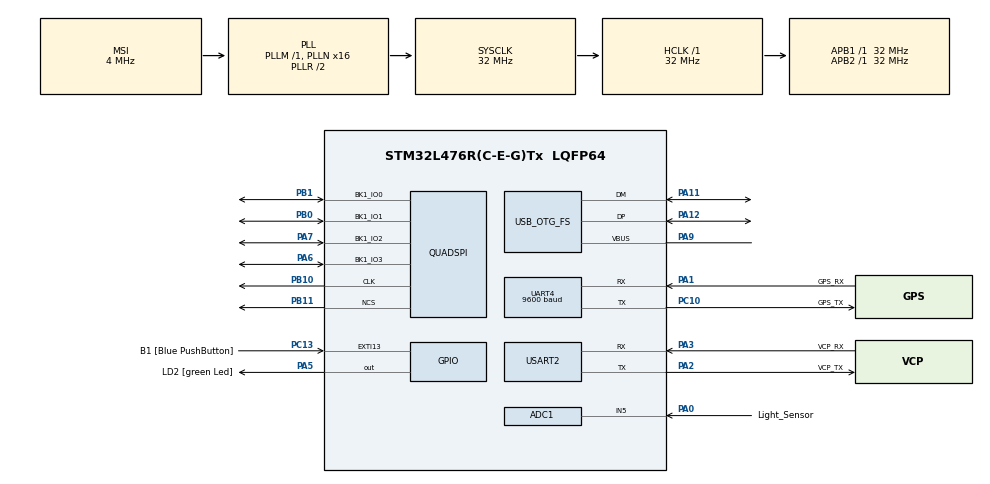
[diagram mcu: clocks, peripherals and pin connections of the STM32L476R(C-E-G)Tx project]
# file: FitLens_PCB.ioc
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ADC1.Channel-0\#ChannelRegularConversion=ADC_CHANNEL_5
ADC1.ContinuousConvMode=DISABLE
ADC1.NbrOfConversion=1
ADC1.NbrOfConversionFlag=1
ADC1.OffsetNumber-0\#ChannelRegularConversion=ADC_OFFSET_NONE
ADC1.Rank-0\#ChannelRegularConversion=1
ADC1.SamplingTime-0\#ChannelRegularConversion=ADC_SAMPLETIME_2CYCLES_5
ADC1.master=1
Dma.Request0=UART4_RX
Dma.UART4_RX.0.Direction=DMA_PERIPH_TO_MEMORY
Dma.UART4_RX.0.Instance=DMA2_Channel5
Dma.UART4_RX.0.MemDataAlignment=DMA_MDATAALIGN_BYTE
Dma.UART4_RX.0.MemInc=DMA_MINC_ENABLE
Dma.UART4_RX.0.Mode=DMA_NORMAL
Dma.UART4_RX.0.PeriphDataAlignment=DMA_PDATAALIGN_BYTE
Dma.UART4_RX.0.PeriphInc=DMA_PINC_DISABLE
Dma.UART4_RX.0.Priority=DMA_PRIORITY_LOW
Mcu.Family=STM32L4
Mcu.Name=STM32L476R(C-E-G)Tx
Mcu.Package=LQFP64
NVIC.DMA2_Channel5_IRQn=true\:0\:0\:false\:false\:true\:false\:true\:true
NVIC.OTG_FS_IRQn=true\:0\:0\:false\:false\:true\:false\:true\:true
NVIC.PriorityGroup=NVIC_PRIORITYGROUP_4
NVIC.UART4_IRQn=true\:0\:0\:false\:false\:true\:true\:true\:true
NVIC.USART2_IRQn=true\:0\:0\:false\:false\:true\:true\:true\:true
PA0.GPIO_Label=Light_Sensor
PA0.Signal=ADCx_IN5
PA1.GPIO_Label=GPS_RX
PA1.Mode=Asynchronous
PA1.Signal=UART4_RX
PA11.Mode=Device_Only
PA11.Signal=USB_OTG_FS_DM
PA12.Mode=Device_Only
PA12.Signal=USB_OTG_FS_DP
PA13\ (JTMS-SWDIO).GPIO_Label=TMS
PA13\ (JTMS-SWDIO).Mode=Serial_Wire
PA13\ (JTMS-SWDIO).Signal=SYS_JTMS-SWDIO
PA14\ (JTCK-SWCLK).GPIO_Label=TCK
PA14\ (JTCK-SWCLK).Mode=Serial_Wire
PA14\ (JTCK-SWCLK).Signal=SYS_JTCK-SWCLK
PA2.GPIO_Label=VCP_TX
PA2.GPIO_Mode=GPIO_MODE_AF_PP
PA2.GPIO_PuPd=GPIO_NOPULL
PA2.GPIO_Speed=GPIO_SPEED_FREQ_VERY_HIGH
PA2.Mode=Asynchronous
PA2.Signal=USART2_TX
PA3.GPIO_Label=VCP_RX
PA3.GPIO_Mode=GPIO_MODE_AF_PP
PA3.GPIO_PuPd=GPIO_NOPULL
PA3.GPIO_Speed=GPIO_SPEED_FREQ_VERY_HIGH
PA3.Mode=Asynchronous
PA3.Signal=USART2_RX
PA5.GPIO_Label=LD2 [green Led]
PA5.GPIO_ModeDefaultOutputPP=GPIO_MODE_OUTPUT_PP
PA5.GPIO_PuPd=GPIO_NOPULL
PA5.GPIO_Speed=GPIO_SPEED_FREQ_LOW
PA5.Signal=GPIO_Output
PA6.Mode=Single Bank
PA6.Signal=QUADSPI_BK1_IO3
PA7.Mode=Single Bank
PA7.Signal=QUADSPI_BK1_IO2
PA9.Mode=Activate_VBUS
PA9.Signal=USB_OTG_FS_VBUS
PB0.Mode=Single Bank
PB0.Signal=QUADSPI_BK1_IO1
PB1.Mode=Single Bank
PB1.Signal=QUADSPI_BK1_IO0
PB10.Mode=Single Bank
PB10.Signal=QUADSPI_CLK
PB11.Mode=Single Bank
PB11.Signal=QUADSPI_NCS
PB3\ (JTDO-TRACESWO).GPIO_Label=SWO
PB3\ (JTDO-TRACESWO).Signal=SYS_JTDO-SWO
PC10.GPIO_Label=GPS_TX
PC10.Mode=Asynchronous
PC10.Signal=UART4_TX
PC13.GPIO_Label=B1 [Blue PushButton]
PC13.GPIO_ModeDefaultEXTI=GPIO_MODE_IT_FALLING
PC13.GPIO_PuPd=GPIO_NOPULL
PC13.Signal=GPXTI13
PC14-OSC32_IN\ (PC14).Mode=LSE-External-Oscillator
PC14-OSC32_IN\ (PC14).Signal=RCC_OSC32_IN
PC15-OSC32_OUT\ (PC15).Mode=LSE-External-Oscillator
PC15-OSC32_OUT\ (PC15).Signal=RCC_OSC32_OUT
PH0-OSC_IN\ (PH0).Signal=RCC_OSC_IN
PH1-OSC_OUT\ (PH1).Signal=RCC_OSC_OUT
ProjectManager.HeapSize=0x200
ProjectManager.StackSize=0x400
ProjectManager.TargetToolchain=STM32CubeIDE
QUADSPI.FlashSize-Single\ Bank=22
RCC.ADCFreq_Value=48000000
RCC.AHBFreq_Value=32000000
RCC.APB1Freq_Value=32000000
RCC.APB1TimFreq_Value=32000000
RCC.APB2Freq_Value=32000000
RCC.APB2TimFreq_Value=32000000
RCC.CortexFreq_Value=32000000
RCC.HCLKFreq_Value=32000000
RCC.HSE_VALUE=8000000
RCC.HSI_VALUE=16000000
RCC.MSI_VALUE=4000000
RCC.PLLN=16
RCC.PLLSAI1N=24
RCC.PREFETCH_ENABLE=1
RCC.SYSCLKFreq_VALUE=32000000
RCC.SYSCLKSource=RCC_SYSCLKSOURCE_PLLCLK
RCC.USBFreq_Value=48000000
RCC.VCOOutputFreq_Value=64000000
SH.ADCx_IN5.0=ADC1_IN5,IN5-Single-Ended
UART4.BaudRate=9600
USART2.VirtualMode-Asynchronous=VM_ASYNC
USB_DEVICE.CLASS_NAME_FS=CDC
USB_DEVICE.VirtualMode=Cdc
USB_DEVICE.VirtualModeFS=Cdc_FS
USB_OTG_FS.VirtualMode=Device_Only
VP_CRC_VS_CRC.Mode=CRC_Activate
VP_USB_DEVICE_VS_USB_DEVICE_CDC_FS.Mode=CDC_FS
board=NUCLEO-L476RG

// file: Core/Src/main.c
/* USER CODE BEGIN Header */
/**
  ******************************************************************************
  * @file           : main.c
  * @brief          : Main program body
  ******************************************************************************
  * @attention
  *
  * Copyright (c) 2026 STMicroelectronics.
  * All rights reserved.
  *
  * This software is licensed under terms that can be found in the LICENSE file
  * in the root directory of this software component.
  * If no LICENSE file comes with this software, it is provided AS-IS.
  *
  ******************************************************************************
  */
/* USER CODE END Header */
#include "main.h"
#include "usb_device.h"
#include "usbd_cdc_if.h"
/* USER CODE BEGIN Includes */
//#include "ssd1306_fonts.h"
#include <string.h>
#include <stdio.h>
//#include "ssd1306.h"
#include <stdlib.h>
#include "gps.h"
#include "mx25_flash.h"
/* USER CODE END Includes */

ADC_HandleTypeDef hadc1;

CRC_HandleTypeDef hcrc;

QSPI_HandleTypeDef hqspi;

UART_HandleTypeDef huart4;
UART_HandleTypeDef huart2;
DMA_HandleTypeDef hdma_uart4_rx;

/* USER CODE BEGIN PV */
uint32_t flash_id = 0;
uint8_t terminal_rx_byte; // buffer for 1 byte to terminal
extern CRC_HandleTypeDef hcrc;
extern uint8_t export_gpx_flag;
uint32_t last_gps_ptr = 0;
uint16_t adc_values[2];
uint16_t adcLight = 0;
uint16_t adcTouch = 0;
uint8_t gps_logging_enabled = 0;
uint32_t last_log_tick = 0;
#define GPS_LOG_INTERVAL_MS 1000
extern uint32_t total_time;
extern uint32_t time_since_update;
extern float distance_traveled;
extern uint32_t last_update;
uint32_t current_flash_address = 0x000000;
//void get_dist_and_time(float lat, float lon);
extern float distance_m(float lat1, float lon1,
        float lat2, float lon2);

// nav vars
char nav_rx; // nav byte
char nav_buffer[128];
int nav_idx = 0;
char nav_c;
int done;
int instr_idx = 0;
float dist_to_wp;

#define MAX_WAYPOINTS 200
#define MAX_STREET_LEN 32
#define MAX_DIR_LEN 16
#define MAX_DIST_LEN 16

float lat[MAX_WAYPOINTS];
float lon[MAX_WAYPOINTS];
char direction[MAX_WAYPOINTS][MAX_DIR_LEN];
char street[MAX_WAYPOINTS][MAX_STREET_LEN];
char distance_to_turn[MAX_WAYPOINTS][MAX_DIST_LEN];

int waypoint_count = 0;
int arrived_flag = 0;
int first_run = 1;
//static int scroll_x = 128; // right edge

int final_time = 0;
float final_dist = 0.0;

extern UART_HandleTypeDef huart2;

uint8_t rx_byte;

// 8x8 bitmap for right arrow
uint8_t arrow_right[8] = {
    0b00010000,
    0b00011000,
    0b00001100,
    0b11111110,
    0b11111110,
    0b00001100,
    0b00011000,
    0b00010000
};

uint8_t arrow_left[8] = {
    0b00001000,
    0b00011000,
    0b00110000,
    0b01111111,
    0b01111111,
    0b00110000,
    0b00011000,
    0b00001000
};

// 8x8 bitmap for straight/up arrow
uint8_t arrow_up[8] = {
    0b00011000,
    0b00111100,
    0b01111110,
    0b00011000,
    0b00011000,
    0b00011000,
    0b00011000,
    0b00000000
};
/* USER CODE END PV */

void SystemClock_Config(void);
void PeriphCommonClock_Config(void);
static void MX_GPIO_Init(void);
static void MX_DMA_Init(void);
static void MX_USART2_UART_Init(void);
static void MX_UART4_Init(void);
static void MX_ADC1_Init(void);
static void MX_QUADSPI_Init(void);
static void MX_CRC_Init(void);
/* USER CODE BEGIN PFP */
void Execute_GPX_Export(void);
/* USER CODE END PFP */

/* USER CODE BEGIN 0 */

/*void Display_Write(uint8_t cmd) {
    HAL_GPIO_WritePin(DISP_DC_PORT, DISP_DC, GPIO_PIN_RESET); // command mode
    HAL_GPIO_WritePin(DISP_CS_PORT, DISP_CS, GPIO_PIN_RESET); // select display
    HAL_SPI_Transmit(&hspi2, &cmd, 1, HAL_MAX_DELAY); // send command
    HAL_GPIO_WritePin(DISP_CS_PORT, DISP_CS, GPIO_PIN_SET); // deselect display
}
*/
void ReadSensors() {
	// need to reconfigure every time to use blocking conversion; no DMA somehow
//	ADC_ChannelConfTypeDef sConfig = {0};
//	sConfig.Channel = ADC_CHANNEL_5;
//	sConfig.Rank = ADC_REGULAR_RANK_1;
//	sConfig.SamplingTime = ADC_SAMPLETIME_247CYCLES_5;
//	HAL_ADC_ConfigChannel(&hadc1, &sConfig);

	HAL_ADC_Start(&hadc1);
	HAL_ADC_PollForConversion(&hadc1, HAL_MAX_DELAY);
	adcLight = HAL_ADC_GetValue(&hadc1);
	HAL_ADC_Stop(&hadc1);

}

/*void Update_Brightness(uint32_t adcLight)
{
    const uint32_t ADC_DARK  = 1100;
    const uint32_t ADC_BRIGHT = 2500;

    const uint8_t BRIGHTNESS_MIN = 0x00;  // calibrate
    const uint8_t BRIGHTNESS_MAX = 0xFF;

    uint8_t brightness;

    if (adcLight <= ADC_DARK)
    {
    	brightness = BRIGHTNESS_MIN;
    }
    else if (adcLight >= ADC_BRIGHT)
    {
        brightness = BRIGHTNESS_MAX;
    }
    else
    {
        brightness = BRIGHTNESS_MIN + (uint8_t)((adcLight - ADC_DARK) * (BRIGHTNESS_MAX - BRIGHTNESS_MIN) /
                (ADC_BRIGHT - ADC_DARK)); // could optimize
    }

    Display_Write(0x81); // update brightness
    Display_Write(brightness); // update to level
}
*/
/*
void Display_Nav() {

	ssd1306_FillRectangle(0, 50, 127, 58, Black);

//		 find substrings and print matching arrow
	    if (strstr(direction[instr_idx], "right"))
	    	ssd1306_DrawBitmap(35, 50, arrow_right, 8, 8, White);
	    else if (strstr(direction[instr_idx], "left"))
	    	ssd1306_DrawBitmap(35, 50, arrow_left, 8, 8, White);
	    else if (strstr(direction[instr_idx], "straight") || strstr(direction[instr_idx], "continue"))
	    	ssd1306_DrawBitmap(35, 50, arrow_up, 8, 8, White);
//	     else?

	int char_width = 6;
	int screen_width = 128;
	int left_margin = 50;
	int gap = 20;

	char msg_buffer[64];
	char dist_buff[32];
	if (latitude == 0) {
		snprintf(dist_buff, sizeof(dist_buff), "?");
	} else {
		snprintf(dist_buff, sizeof(dist_buff), "%.0fm", dist_to_wp);
	}
	snprintf(msg_buffer, sizeof(msg_buffer), "%s %s", dist_buff, street[instr_idx]);
	char* msg = msg_buffer;

	if (!arrived_flag) {

		//	char* msg = street[instr_idx];
		//	char* msg = "Mitch Daniels Boulevard";

			int msg_len = strlen(msg);
			int text_width = msg_len * char_width;
			int cycle_width = text_width + gap;

			for (int copy = 0; copy < 2; copy++) {
				int start_pos = scroll_x + (copy * cycle_width);

				for (int i = 0; i < msg_len; i++) {
					int char_x = start_pos + (i * char_width);
					if (char_x >= left_margin && char_x <= (screen_width - char_width)) {
						ssd1306_SetCursor(char_x, 50);
						ssd1306_WriteChar(msg[i], Font_6x8, White);
					}
				}
			}

			scroll_x--;

			if (scroll_x <= (left_margin - cycle_width)) {
				scroll_x = left_margin;
			}

	} else {
		ssd1306_SetCursor(35, 50);
		ssd1306_WriteString("Arrived", Font_6x8, White);
		if (final_time == 0) {
			// total_time and distance_traveled lowkey keep incrementing -- stop them
			final_time = total_time;
			final_dist = distance_traveled;
		}
	}

}
*/
/*
void Display_Info() {

	if ((latitude == 0.0)) {
		// this is kind of jank and would need to change if display fields are edited - maybe make flags
		// also add clearing the line before writing dashed lines to completely overwrite text
		 char buf[32];
		 sprintf(buf, "----------------");
		 ssd1306_SetCursor(35, 40);
		 ssd1306_WriteString(buf, Font_6x8, White);
	} else {
		 // display coords on line 3
		 char buf[32];
		 sprintf(buf, "%.1f|%.1f ", latitude, longitude);
		 ssd1306_SetCursor(35, 40);
		 ssd1306_WriteString(buf, Font_6x8, White);
	}

    // display time and speed on lines 1/2
	 char buf[32];
//	 sprintf(buf, "%02d:%02d:%02d", hour, minute, second);
	 sprintf(buf, "%02d:%02d", hour, minute);
	 ssd1306_SetCursor(35, 20);
	 ssd1306_WriteString(buf, Font_6x8, White);

//	 sprintf(buf, "%.2f mph", speed_mph);
//	 ssd1306_SetCursor(35, 30);
//	 ssd1306_WriteString(buf, Font_6x8, White);

//	 if (!arrived_flag) {
//		 sprintf(buf, "%03lu:%.2f", total_time, distance_traveled);
//		 ssd1306_SetCursor(35, 30);
//		 ssd1306_WriteString(buf, Font_6x8, White);
//	 } else {
//		 sprintf(buf, "%d:%.2f", final_time, final_dist);
//		 ssd1306_SetCursor(35, 30);
//		 ssd1306_WriteString(buf, Font_6x8, White);
//	 }

	 // display number of satellites and altitude on lines 3/4
//	 sprintf(buf, "Sat: %d", satellites);
//	 ssd1306_SetCursor(35, 40);
//	 ssd1306_WriteString(buf, Font_6x8, White)
 //	 sprintf(buf, "Alt: %.1f", altitude_m);
 //	 ssd1306_SetCursor(35, 50);
 //	 ssd1306_WriteString(buf, Font_6x8, White);

	 Display_Nav(); // row 4 (50)

	 ssd1306_UpdateScreen();

}
*/
void process_instruction(char *line)
{
    if (strcmp(line, "<END>") == 0)
    {
        return;
    }

    if (waypoint_count >= MAX_WAYPOINTS)
        return;

    char *token;
    float temp_lat, temp_lon;
    char temp_dir[MAX_DIR_LEN];
    char temp_street[MAX_STREET_LEN];
    char temp_dist[MAX_DIST_LEN];

    // split string into fields
    token = strtok(line, ",");
    temp_lat = atof(token);

    token = strtok(NULL, ",");
    temp_lon = atof(token);

    token = strtok(NULL, ",");
    strncpy(temp_dir, token, MAX_DIR_LEN-1);
    temp_dir[MAX_DIR_LEN-1] = '\0';

    token = strtok(NULL, ",");
    strncpy(temp_dist, token, MAX_DIST_LEN-1);
    temp_dist[MAX_DIST_LEN-1] = '\0';

    token = strtok(NULL, ",");
    strncpy(temp_street, token, MAX_STREET_LEN-1);
    temp_street[MAX_STREET_LEN-1] = '\0';

    // Store in arrays
    lat[waypoint_count] = temp_lat;
    lon[waypoint_count] = temp_lon;
    strncpy(direction[waypoint_count], temp_dir, MAX_DIR_LEN);
    strncpy(distance_to_turn[waypoint_count], temp_dist, MAX_DIST_LEN);
    strncpy(street[waypoint_count], temp_street, MAX_STREET_LEN);

    waypoint_count++;
}

void Update_Route() {
	float threshold = 28.0; // vary as needed based on travel speed - maybe make global

	for (int i = 0; i < waypoint_count; i++) {
		dist_to_wp = distance_m(latitude, longitude, lat[i], lon[i]);
		if ((dist_to_wp <= threshold) && (latitude != 0)) {
			if (i+1 < waypoint_count) {
				instr_idx = i + 1;
				dist_to_wp = distance_m(latitude, longitude, lat[i+1], lon[i+1]);
			} else {
				arrived_flag = 1;
			}
			break;
		} else {
			dist_to_wp = distance_m(latitude, longitude, lat[instr_idx], lon[instr_idx]);
		}
	}
}

void Log_Current_GPS_To_Flash(uint32_t address) {
	uint32_t aligned_buf[32] = {0};
	char* gps_log_str = (char*)aligned_buf;
	uint32_t calculated_crc;

	// DI (distance), TT (total_time), and HR (adcLight/HeartRate placeholder)
	int len = snprintf(gps_log_str, 127,
	              "DT:2026-04-16T%02d:%02d:%02dZ,LA:%.6f,LO:%.6f,SP:%.1f,DI:%.1f,TT:%lu,HR:%u",
	              hour, minute, second, latitude, longitude, speed_mph,
	              distance_traveled, total_time, adcLight);

	calculated_crc = HAL_CRC_Calculate(&hcrc, aligned_buf, len);

	if (address % 4096 == 0) {
	        MX25_SectorErase(address);
	}
	MX25_PageProgram(address, (uint8_t*)aligned_buf, 128);
	MX25_PageProgram(address + 128, (uint8_t*)&calculated_crc, 4);

	current_flash_address += 256;
	if (current_flash_address > 0x7FFF00) current_flash_address = 0;
}

/* USER CODE END 0 */

int main(void)
{

  /* MCU Configuration--------------------------------------------------------*/

  /* Reset of all peripherals, Initializes the Flash interface and the Systick. */
  HAL_Init();

  /* Configure the system clock */
  SystemClock_Config();

  /* Configure the peripherals common clocks */
  PeriphCommonClock_Config();

  /* Initialize all configured peripherals */
  MX_GPIO_Init();
  MX_DMA_Init();
  MX_USART2_UART_Init();
  MX_UART4_Init();
  MX_ADC1_Init();
  MX_QUADSPI_Init();
  MX_USB_DEVICE_Init();
  MX_CRC_Init();
  /* USER CODE BEGIN 2 */

  // initialize display
   //ssd1306_Init();

   last_update = HAL_GetTick();

   // initialize GPS/DMA
   HAL_UART_Receive_DMA(&huart4, gps_rx_buf, GPS_RX_BUF_SIZE);
   __HAL_UART_ENABLE_IT(&huart4, UART_IT_IDLE);

   // get route
    done = 1;// 0 to turn on nav

    while(!done) {
  	HAL_UART_Receive(&huart2, (uint8_t*)&nav_c, 1, HAL_MAX_DELAY);

  	  if (nav_c == '\n')
  	  {
  		  nav_buffer[nav_idx] = '\0';
  		  process_instruction(nav_buffer);
  		  nav_idx = 0;
  		  memset(nav_buffer, 0, sizeof(nav_buffer));
  	  }
  	  else
  	  {
  		  if(nav_idx < sizeof(nav_buffer)-1)
  			  nav_buffer[nav_idx++] = nav_c;
  	  }

  	  if (strcmp(nav_buffer, "<END>") == 0)
  	  {
  	   done = 1;
  	  }
    }
    flash_id = MX25_READID_QSPI();
    if (flash_id == 0xC22017) {
        HAL_GPIO_WritePin(GPIOA, GPIO_PIN_5, GPIO_PIN_SET);

        char welcome[] = "\r\n FitLens On\r\nReady for commands [W, G, D]\r\n";
        HAL_UART_Transmit(&huart2, (uint8_t*)welcome, strlen(welcome), 100);
    }

    // Start listening for commands on the term
    HAL_UART_Receive_IT(&huart2, &terminal_rx_byte, 1);
  /* USER CODE END 2 */

  /* Infinite loop */
  /* USER CODE BEGIN WHILE */
  while (1)
  {
	  uint32_t current_gps_ptr = GPS_RX_BUF_SIZE - __HAL_DMA_GET_COUNTER(huart4.hdmarx);
	  gps_process_data(gps_rx_buf, current_gps_ptr);
	    Update_Route();
		//Display_Info();
		ReadSensors(); // get values from 2 ADC channels - light and touch
		//Update_Brightness(adcLight);

		// ------------------- testing

		 // display light and touch sensor values for observation
	  	 char buf[32];
	  	 sprintf(buf, "%d", adcLight);
	  	 //ssd1306_SetCursor(35, 30);
	  	 //ssd1306_WriteString(buf, Font_6x8, White);

	  //	 ssd1306_UpdateScreen();

	  	if (gps_logging_enabled) {
	  	    uint32_t now = HAL_GetTick();

	  	    if ((now - last_log_tick) >= GPS_LOG_INTERVAL_MS &&
	  	        latitude != 0.0 && longitude != 0.0) {
	  	        Log_Current_GPS_To_Flash(current_flash_address);
	  	        last_log_tick = now;
	  	    }
	  	}
	  	if (export_gpx_flag) {
	  	    Execute_GPX_Export();
	  	    export_gpx_flag = 0;
	  	}
		 HAL_Delay(30);
    /* USER CODE END WHILE */

  }
}

void SystemClock_Config(void)
{
  RCC_OscInitTypeDef RCC_OscInitStruct = {0};
  RCC_ClkInitTypeDef RCC_ClkInitStruct = {0};

  /** Configure the main internal regulator output voltage
  */
  if (HAL_PWREx_ControlVoltageScaling(PWR_REGULATOR_VOLTAGE_SCALE1) != HAL_OK)
  {
    Error_Handler();
  }

  /** Configure LSE Drive Capability
  */
  HAL_PWR_EnableBkUpAccess();
  __HAL_RCC_LSEDRIVE_CONFIG(RCC_LSEDRIVE_LOW);

  /** Initializes the RCC Oscillators according to the specified parameters
  * in the RCC_OscInitTypeDef structure.
  */
  RCC_OscInitStruct.OscillatorType = RCC_OSCILLATORTYPE_LSE|RCC_OSCILLATORTYPE_MSI;
  RCC_OscInitStruct.LSEState = RCC_LSE_ON;
  RCC_OscInitStruct.MSIState = RCC_MSI_ON;
  RCC_OscInitStruct.MSICalibrationValue = 0;
  RCC_OscInitStruct.MSIClockRange = RCC_MSIRANGE_6;
  RCC_OscInitStruct.PLL.PLLState = RCC_PLL_ON;
  RCC_OscInitStruct.PLL.PLLSource = RCC_PLLSOURCE_MSI;
  RCC_OscInitStruct.PLL.PLLM = 1;
  RCC_OscInitStruct.PLL.PLLN = 16;
  RCC_OscInitStruct.PLL.PLLP = RCC_PLLP_DIV7;
  RCC_OscInitStruct.PLL.PLLQ = RCC_PLLQ_DIV2;
  RCC_OscInitStruct.PLL.PLLR = RCC_PLLR_DIV2;
  if (HAL_RCC_OscConfig(&RCC_OscInitStruct) != HAL_OK)
  {
    Error_Handler();
  }

  /** Initializes the CPU, AHB and APB buses clocks
  */
  RCC_ClkInitStruct.ClockType = RCC_CLOCKTYPE_HCLK|RCC_CLOCKTYPE_SYSCLK
                              |RCC_CLOCKTYPE_PCLK1|RCC_CLOCKTYPE_PCLK2;
  RCC_ClkInitStruct.SYSCLKSource = RCC_SYSCLKSOURCE_PLLCLK;
  RCC_ClkInitStruct.AHBCLKDivider = RCC_SYSCLK_DIV1;
  RCC_ClkInitStruct.APB1CLKDivider = RCC_HCLK_DIV1;
  RCC_ClkInitStruct.APB2CLKDivider = RCC_HCLK_DIV1;

  if (HAL_RCC_ClockConfig(&RCC_ClkInitStruct, FLASH_LATENCY_1) != HAL_OK)
  {
    Error_Handler();
  }

  /** Enable MSI Auto calibration
  */
  HAL_RCCEx_EnableMSIPLLMode();
}

void Execute_GPX_Export(void) {
	static char xml_buf[256];
	    uint8_t read_data[128];

	    HAL_Delay(100);

	    #define SEND_USB(s, len) { \
	        uint32_t timeout = 100000; \
	        while(CDC_Transmit_FS((uint8_t*)s, len) == USBD_BUSY && timeout > 0) { timeout--; } \
	    }

	    SEND_USB("<?xml version=\"1.1\" encoding=\"UTF-8\"?>\r\n", 40);
	    SEND_USB("<gpx version=\"1.1\" creator=\"FitLens\"><trk><trkseg>\r\n", 52);

	    for (uint32_t addr = 0; addr < current_flash_address; addr += 256) {
	        MX25_ReadData(addr, read_data, 128);
	        if (read_data[0] == 'D') {
	            float l_lat, l_lon, l_spd, l_dist;
	            uint32_t l_tt;
	            unsigned int l_hr;
	            int h, m, s;

	            if (sscanf((char*)read_data, "DT:2026-04-16T%d:%d:%dZ,LA:%f,LO:%f,SP:%f,DI:%f,TT:%lu,HR:%u",
	                       &h, &m, &s, &l_lat, &l_lon, &l_spd, &l_dist, &l_tt, &l_hr) >= 5) {

	                int len = snprintf(xml_buf, sizeof(xml_buf),
	                          "<trkpt lat=\"%.6f\" lon=\"%.6f\"><time>2026-04-16T%02d:%02d:%02dZ</time>"
	                          "<extensions><gpxtpx:hr>%u</gpxtpx:hr></extensions></trkpt>\r\n",
	                          l_lat, l_lon, h, m, s, l_hr);

	                SEND_USB(xml_buf, len);
	                HAL_Delay(10);
	            }
	        }
	    }
	    SEND_USB("</trkseg></trk></gpx>\r\n", 23);
	    #undef SEND_USB
}
void PeriphCommonClock_Config(void)
{
  RCC_PeriphCLKInitTypeDef PeriphClkInit = {0};

  /** Initializes the peripherals clock
  */
  PeriphClkInit.PeriphClockSelection = RCC_PERIPHCLK_USB|RCC_PERIPHCLK_ADC;
  PeriphClkInit.AdcClockSelection = RCC_ADCCLKSOURCE_PLLSAI1;
  PeriphClkInit.UsbClockSelection = RCC_USBCLKSOURCE_PLLSAI1;
  PeriphClkInit.PLLSAI1.PLLSAI1Source = RCC_PLLSOURCE_MSI;
  PeriphClkInit.PLLSAI1.PLLSAI1M = 1;
  PeriphClkInit.PLLSAI1.PLLSAI1N = 24;
  PeriphClkInit.PLLSAI1.PLLSAI1P = RCC_PLLP_DIV7;
  PeriphClkInit.PLLSAI1.PLLSAI1Q = RCC_PLLQ_DIV2;
  PeriphClkInit.PLLSAI1.PLLSAI1R = RCC_PLLR_DIV2;
  PeriphClkInit.PLLSAI1.PLLSAI1ClockOut = RCC_PLLSAI1_48M2CLK|RCC_PLLSAI1_ADC1CLK;
  if (HAL_RCCEx_PeriphCLKConfig(&PeriphClkInit) != HAL_OK)
  {
    Error_Handler();
  }
}

static void MX_ADC1_Init(void)
{

  ADC_MultiModeTypeDef multimode = {0};
  ADC_ChannelConfTypeDef sConfig = {0};

  /** Common config
  */
  hadc1.Instance = ADC1;
  hadc1.Init.ClockPrescaler = ADC_CLOCK_ASYNC_DIV1;
  hadc1.Init.Resolution = ADC_RESOLUTION_12B;
  hadc1.Init.DataAlign = ADC_DATAALIGN_RIGHT;
  hadc1.Init.ScanConvMode = ADC_SCAN_DISABLE;
  hadc1.Init.EOCSelection = ADC_EOC_SINGLE_CONV;
  hadc1.Init.LowPowerAutoWait = DISABLE;
  hadc1.Init.ContinuousConvMode = DISABLE;
  hadc1.Init.NbrOfConversion = 1;
  hadc1.Init.DiscontinuousConvMode = DISABLE;
  hadc1.Init.ExternalTrigConv = ADC_SOFTWARE_START;
  hadc1.Init.ExternalTrigConvEdge = ADC_EXTERNALTRIGCONVEDGE_NONE;
  hadc1.Init.DMAContinuousRequests = DISABLE;
  hadc1.Init.Overrun = ADC_OVR_DATA_PRESERVED;
  hadc1.Init.OversamplingMode = DISABLE;
  if (HAL_ADC_Init(&hadc1) != HAL_OK)
  {
    Error_Handler();
  }

  /** Configure the ADC multi-mode
  */
  multimode.Mode = ADC_MODE_INDEPENDENT;
  if (HAL_ADCEx_MultiModeConfigChannel(&hadc1, &multimode) != HAL_OK)
  {
    Error_Handler();
  }

  /** Configure Regular Channel
  */
  sConfig.Channel = ADC_CHANNEL_5;
  sConfig.Rank = ADC_REGULAR_RANK_1;
  sConfig.SamplingTime = ADC_SAMPLETIME_2CYCLES_5;
  sConfig.SingleDiff = ADC_SINGLE_ENDED;
  sConfig.OffsetNumber = ADC_OFFSET_NONE;
  sConfig.Offset = 0;
  if (HAL_ADC_ConfigChannel(&hadc1, &sConfig) != HAL_OK)
  {
    Error_Handler();
  }

}

static void MX_CRC_Init(void)
{

  hcrc.Instance = CRC;
  hcrc.Init.DefaultPolynomialUse = DEFAULT_POLYNOMIAL_ENABLE;
  hcrc.Init.DefaultInitValueUse = DEFAULT_INIT_VALUE_ENABLE;
  hcrc.Init.InputDataInversionMode = CRC_INPUTDATA_INVERSION_NONE;
  hcrc.Init.OutputDataInversionMode = CRC_OUTPUTDATA_INVERSION_DISABLE;
  hcrc.InputDataFormat = CRC_INPUTDATA_FORMAT_BYTES;
  if (HAL_CRC_Init(&hcrc) != HAL_OK)
  {
    Error_Handler();
  }

}

static void MX_QUADSPI_Init(void)
{

  /* QUADSPI parameter configuration*/
  hqspi.Instance = QUADSPI;
  hqspi.Init.ClockPrescaler = 255;
  hqspi.Init.FifoThreshold = 1;
  hqspi.Init.SampleShifting = QSPI_SAMPLE_SHIFTING_NONE;
  hqspi.Init.FlashSize = 22;
  hqspi.Init.ChipSelectHighTime = QSPI_CS_HIGH_TIME_1_CYCLE;
  hqspi.Init.ClockMode = QSPI_CLOCK_MODE_0;
  if (HAL_QSPI_Init(&hqspi) != HAL_OK)
  {
    Error_Handler();
  }

}

static void MX_UART4_Init(void)
{

  huart4.Instance = UART4;
  huart4.Init.BaudRate = 9600;
  huart4.Init.WordLength = UART_WORDLENGTH_8B;
  huart4.Init.StopBits = UART_STOPBITS_1;
  huart4.Init.Parity = UART_PARITY_NONE;
  huart4.Init.Mode = UART_MODE_TX_RX;
  huart4.Init.HwFlowCtl = UART_HWCONTROL_NONE;
  huart4.Init.OverSampling = UART_OVERSAMPLING_16;
  huart4.Init.OneBitSampling = UART_ONE_BIT_SAMPLE_DISABLE;
  huart4.AdvancedInit.AdvFeatureInit = UART_ADVFEATURE_NO_INIT;
  if (HAL_UART_Init(&huart4) != HAL_OK)
  {
    Error_Handler();
  }

}

static void MX_USART2_UART_Init(void)
{

  huart2.Instance = USART2;
  huart2.Init.BaudRate = 115200;
  huart2.Init.WordLength = UART_WORDLENGTH_8B;
  huart2.Init.StopBits = UART_STOPBITS_1;
  huart2.Init.Parity = UART_PARITY_NONE;
  huart2.Init.Mode = UART_MODE_TX_RX;
  huart2.Init.HwFlowCtl = UART_HWCONTROL_NONE;
  huart2.Init.OverSampling = UART_OVERSAMPLING_16;
  huart2.Init.OneBitSampling = UART_ONE_BIT_SAMPLE_DISABLE;
  huart2.AdvancedInit.AdvFeatureInit = UART_ADVFEATURE_NO_INIT;
  if (HAL_UART_Init(&huart2) != HAL_OK)
  {
    Error_Handler();
  }

}

static void MX_DMA_Init(void)
{

  /* DMA controller clock enable */
  __HAL_RCC_DMA2_CLK_ENABLE();

  /* DMA interrupt init */
  /* DMA2_Channel5_IRQn interrupt configuration */
  HAL_NVIC_SetPriority(DMA2_Channel5_IRQn, 0, 0);
  HAL_NVIC_EnableIRQ(DMA2_Channel5_IRQn);

}

static void MX_GPIO_Init(void)
{
  GPIO_InitTypeDef GPIO_InitStruct = {0};

  /* GPIO Ports Clock Enable */
  __HAL_RCC_GPIOC_CLK_ENABLE();
  __HAL_RCC_GPIOH_CLK_ENABLE();
  __HAL_RCC_GPIOA_CLK_ENABLE();
  __HAL_RCC_GPIOB_CLK_ENABLE();

  /*Configure GPIO pin Output Level */
  HAL_GPIO_WritePin(LD2_GPIO_Port, LD2_Pin, GPIO_PIN_RESET);

  /*Configure GPIO pin : B1_Pin */
  GPIO_InitStruct.Pin = B1_Pin;
  GPIO_InitStruct.Mode = GPIO_MODE_IT_FALLING;
  GPIO_InitStruct.Pull = GPIO_NOPULL;
  HAL_GPIO_Init(B1_GPIO_Port, &GPIO_InitStruct);

  /*Configure GPIO pin : LD2_Pin */
  GPIO_InitStruct.Pin = LD2_Pin;
  GPIO_InitStruct.Mode = GPIO_MODE_OUTPUT_PP;
  GPIO_InitStruct.Pull = GPIO_NOPULL;
  GPIO_InitStruct.Speed = GPIO_SPEED_FREQ_LOW;
  HAL_GPIO_Init(LD2_GPIO_Port, &GPIO_InitStruct);

}

/* USER CODE BEGIN 4 */
void HAL_UART_RxCpltCallback(UART_HandleTypeDef *huart) {
    if (huart->Instance == USART2) {
        char cmd = (char)terminal_rx_byte;

        if (cmd == 'D' || cmd == 'd') { //download the GPS log
        	uint8_t read_buf[256] = {0};
        	char response[512];

        	MX25_ReadData(0x000000, read_buf, 255);
        	read_buf[255] = '\0';

        	snprintf(response, sizeof(response), "\r\nFitLens Flash Log\r\n%s\r\n", (char*)read_buf);
        	HAL_UART_Transmit(&huart2, (uint8_t*)response, strlen(response), 1000);
        }
        else if (cmd == 'G' || cmd == 'g') { // Log live data to flash
        	Log_Current_GPS_To_Flash(current_flash_address);
        }
        else if (cmd == 'W' || cmd == 'w') { // integrity test
            uint8_t test_data[] = "FITLENS_SECURE_BOOT";
            uint8_t verify_buf[20] = {0};
            MX25_SectorErase(0x500000); // Use a far sector to avoid GPS logs
            MX25_PageProgram(0x500000, test_data, 19);
            MX25_ReadData(0x500000, verify_buf, 19);
            if (memcmp(test_data, verify_buf, 19) == 0) {
                HAL_UART_Transmit(&huart2, (uint8_t*)"\r\nMemory Integrity: PASSED\r\n", 28, 100);
            } else {
                HAL_UART_Transmit(&huart2, (uint8_t*)"\r\nMemory Integrity: FAILED\r\n", 28, 100);
            }
        }

        //continues to listen
        HAL_UART_Receive_IT(&huart2, &terminal_rx_byte, 1);
    }
}
/* USER CODE END 4 */

void Error_Handler(void)
{
  __disable_irq();
  while (1)
  {
  }
}
